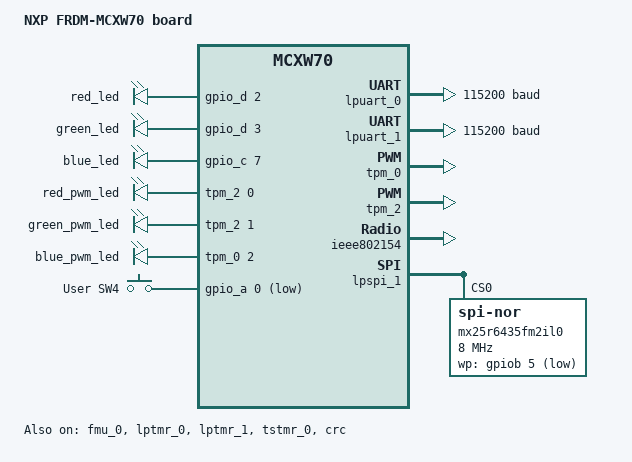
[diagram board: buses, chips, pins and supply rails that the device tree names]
/*
 * Copyright 2026 NXP
 *
 * SPDX-License-Identifier: Apache-2.0
 */

#include "frdm_mcxw70-pinctrl.dtsi"
#include <zephyr/dt-bindings/gpio/arduino-header-r3.h>
#include <zephyr/dt-bindings/input/input-event-codes.h>

/ {
	model = "NXP FRDM-MCXW70 board";

	aliases {
		led0 = &blue_led;
		blue-pwm-led = &blue_pwm_led;
		green-pwm-led = &green_pwm_led;
		red-pwm-led = &red_pwm_led;
		sw0 = &user_button_0;
	};

	chosen {
		zephyr,flash = &flw;
		zephyr,flash-controller = &fmu_0;
		zephyr,code-partition = &code_partition;
		zephyr,sram = &stcm0;
		zephyr,console = &lpuart1;
		zephyr,shell-uart = &lpuart1;
		zephyr,uart-pipe = &lpuart1;
		zephyr,bt-c2h-uart = &lpuart1;
		zephyr,crc = &crc;
	};

	user_led {
		compatible = "gpio-leds";

		red_led: red_led {
			gpios = <&gpio_d 2 GPIO_ACTIVE_HIGH>;
		};

		green_led: green_led {
			gpios = <&gpio_d 3 GPIO_ACTIVE_HIGH>;
		};

		blue_led: blue_led {
			gpios = <&gpio_c 7 GPIO_ACTIVE_HIGH>;
		};
	};

	pwmleds {
		compatible = "pwm-leds";

		red_pwm_led: pwm_led_2 {
			pwms = <&tpm_2 0 PWM_MSEC(20) PWM_POLARITY_INVERTED>;
		};

		green_pwm_led: pwm_led_1 {
			pwms = <&tpm_2 1 PWM_MSEC(20) PWM_POLARITY_INVERTED>;
		};

		blue_pwm_led: pwm_led_0 {
			pwms = <&tpm_0 2 PWM_MSEC(20) PWM_POLARITY_INVERTED>;
		};
	};

	gpio_keys {
		compatible = "gpio-keys";

		user_button_0: button_0 {
			label = "User SW4";
			gpios = <&gpio_a 0 (GPIO_ACTIVE_LOW | GPIO_PULL_UP)>;
			zephyr,code = <INPUT_KEY_0>;
			status = "okay";
		};
	};
};

gpioa: &gpio_a {
	status = "okay";
};

gpiob: &gpio_b {
	status = "okay";
};

gpioc: &gpio_c {
	status = "okay";
};

gpiod: &gpio_d {
	status = "okay";
};

porta: &port_a {};

portb: &port_b {};

portc: &port_c {};

portd: &port_d {};

lpuart0: &lpuart_0 {
	current-speed = <115200>;
	pinctrl-0 = <&pinmux_lpuart0>;
	pinctrl-names = "default";
	status = "okay";
};

lpuart1: &lpuart_1 {
	current-speed = <115200>;
	pinctrl-0 = <&pinmux_lpuart1>;
	pinctrl-names = "default";
	status = "okay";
};

fmu: &fmu_0 {
	status = "okay";
};

tpm0: &tpm_0 {
	pinctrl-0 = <&pinmux_tpm0>;
	pinctrl-names = "default";
	status = "okay";
};

tpm2: &tpm_2 {
	pinctrl-0 = <&pinmux_tpm2>;
	pinctrl-names = "default";
	status = "okay";
};

lptmr0: &lptmr_0 {
	status = "okay";
};

lptmr1: &lptmr_1 {
	status = "okay";
};

tstmr0: &tstmr_0 {
	status = "okay";
};

&ieee802154 {
	counter = <&lptmr1>;
};

&crc {
	status = "okay";
};

lpspi1: &lpspi_1 {
	pinctrl-0 = <&pinmux_lpspi1>;
	pinctrl-names = "default";
	status = "okay";

	/* The LPSPI1_SIN line is held low by the
	 * combined action of U30 and U12C. To prevent
	 * this condition when accessing the NOR flash,
	 * first disable U30 by either shorting JP6 or
	 * removing the jumper on JP23. This releases
	 * the LPSPI1_SIN signal and allows normal flash
	 * operation.
	 */
	mx25r6435fm2il0: flash@0 {
		compatible = "jedec,spi-nor";
		reg = <0>;
		jedec-id = [c2 28 17];
		/* only wp-gpio on default board configuration,
		 * there is a reset gpio line but the line is
		 * DNP by default on the board (R83 on schematic)
		 */
		wp-gpios = <&gpiob 5 GPIO_ACTIVE_LOW>;
		size = <DT_SIZE_M(64)>;
		has-dpd;
		dpd-wakeup-sequence = <30000 20 35000>;
		t-enter-dpd = <10000>;
		/* 8 MHz for low power mode */
		spi-max-frequency = <DT_FREQ_M(8)>;
		spi-cs-setup-delay-ns = <5>;
		spi-cs-hold-delay-ns = <5>;
		spi-interframe-delay-ns = <125>;
		/* this is the default (reset) mode for this flash */
		mxicy,mx25r-power-mode = "low-power";
	};
};
